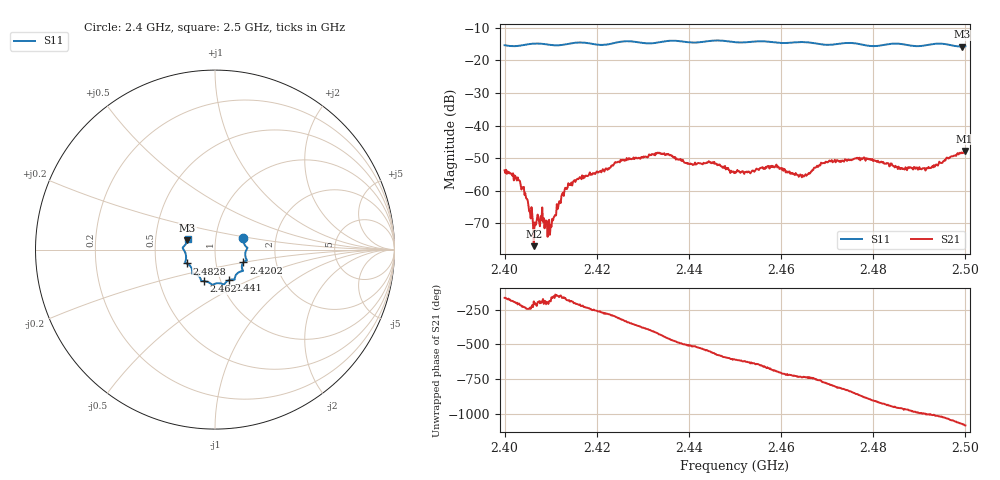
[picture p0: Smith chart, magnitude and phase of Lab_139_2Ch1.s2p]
# Hz S RI R 50
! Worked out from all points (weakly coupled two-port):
!   601 points, 2.4 GHz to 2.5 GHz, reference 50 ohm
!   highest |S21| = -47.78 dB at 2.4998 GHz (marker M1); lowest = -77.0 dB at 2.4063 GHz (marker M2)
!   lowest |S11| = -15.8 dB at 2.4993 GHz (marker M3), VSWR 1.39, Z = 36.5 + j3.84 ohm
!   |S11| at or under -10 dB: start of sweep to end of sweep
!   S12 and S22 are empty: the file has one direction only
!   S11 on the Smith chart (normalised r, x): 2.4 GHz: 1.36, +0.18; 2.4202 GHz: 1.36, -0.20; 2.441 GHz: 1.10, -0.39; 2.462 GHz: 0.84, -0.30; 2.4828 GHz: 0.72, -0.11; 2.5 GHz: 0.73, +0.09
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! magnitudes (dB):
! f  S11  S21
! 2.4 GHz  -15.4  -53.7
! 2.4037 GHz  -15.4  -59.6
! 2.4063 GHz  -14.9  -77.0
! 2.4077 GHz  -14.9  -70.8
! 2.4098 GHz  -15.3  -73.5
! 2.4135 GHz  -15.0  -59.5
! 2.4167 GHz  -14.5  -56.4
! 2.4202 GHz  -15.2  -54.3
! 2.4333 GHz  -14.5  -48.5
! 2.441 GHz  -14.6  -52.0
! 2.4447 GHz  -14.0  -51.2
! 2.45 GHz  -14.4  -54.3
! 2.4585 GHz  -14.5  -52.8
! 2.462 GHz  -14.6  -54.8
! 2.4667 GHz  -14.6  -54.0
! 2.4765 GHz  -14.9  -49.9
! 2.4828 GHz  -15.1  -51.7
! 2.4833 GHz  -15.0  -51.6
! 2.4918 GHz  -15.3  -53.1
! 2.4993 GHz  -15.8  -48.4
! 2.4998 GHz  -15.7  -47.8
! 2.5 GHz  -15.7  -47.8
